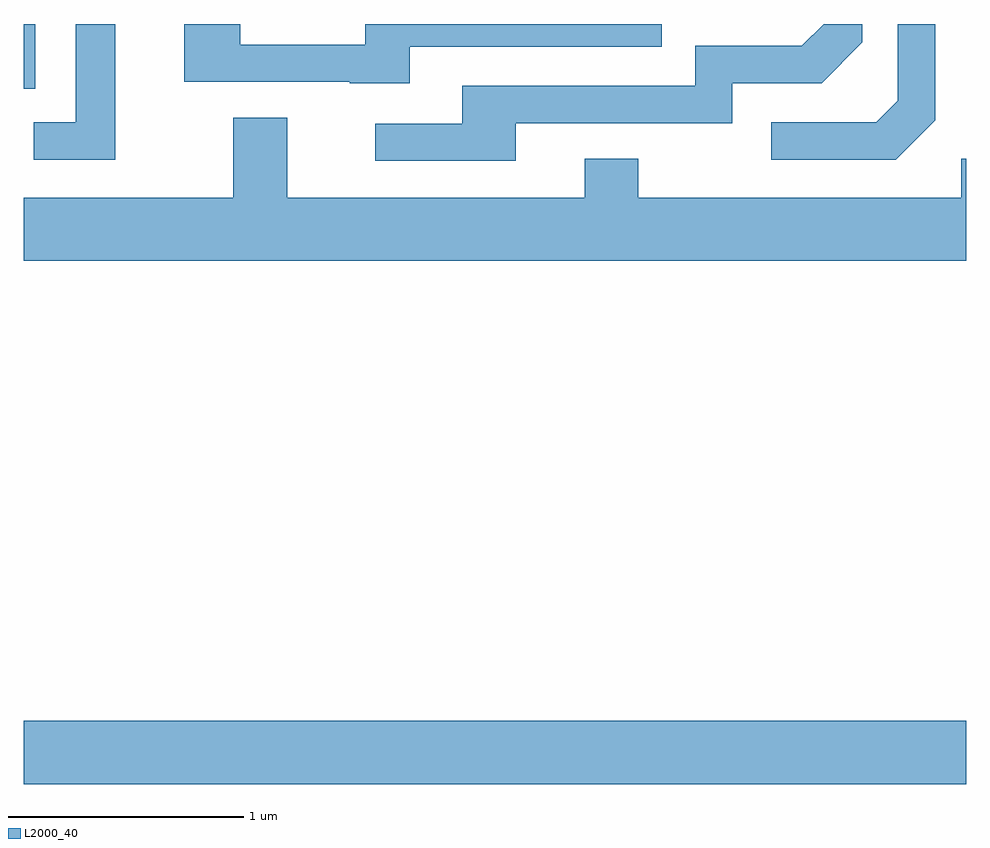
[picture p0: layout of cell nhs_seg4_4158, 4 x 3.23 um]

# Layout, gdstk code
import gdstk
lib = gdstk.Library(unit=1e-6, precision=1e-09)
def R(c, l, rs):  # rectangles x0, y0, x1, y1
    for r in rs: c.add(gdstk.rectangle(r[:2], r[2:], *l))
def P(c, l, *ps):  # polygons
    for p in ps: c.add(gdstk.Polygon(p, *l))
L2000_40 = (2000, 40)

nhs_seg4_4158 = lib.new_cell('nhs_seg4_4158')
R(nhs_seg4_4158, L2000_40, [(307.611,1274.756,311.611,1275.024), (307.611,1277.708,307.659,1277.982)])
P(nhs_seg4_4158, L2000_40, [(311.479,1277.574),(311.479,1277.982),(311.321,1277.982),(311.321,1277.657),(311.229,1277.564),(310.783,1277.564),(310.783,1277.406),(311.312,1277.406)],
  [(307.999,1277.982),(307.831,1277.982),(307.831,1277.564),(307.653,1277.564),(307.653,1277.406),(307.999,1277.406)],
  [(309.249,1277.886),(310.318,1277.886),(310.318,1277.982),(309.061,1277.982),(309.061,1277.894),(308.529,1277.894),(308.529,1277.982),(308.291,1277.982),(308.291,1277.736),(308.995,1277.736),(308.995,1277.731),(309.249,1277.731)],
  [(309.699,1277.561),(310.619,1277.561),(310.619,1277.731),(310.997,1277.731),(311.169,1277.904),(311.169,1277.982),(311.006,1277.982),(310.914,1277.889),(310.461,1277.889),(310.461,1277.719),(309.471,1277.719),(309.471,1277.559),(309.103,1277.559),(309.103,1277.401),(309.699,1277.401)],
  [(311.611,1277.409),(311.591,1277.409),(311.591,1277.244),(310.219,1277.244),(310.219,1277.409),(309.991,1277.409),(309.991,1277.244),(308.729,1277.244),(308.729,1277.584),(308.501,1277.584),(308.501,1277.244),(307.611,1277.244),(307.611,1276.976),(311.611,1276.976)])

lib.write_gds('nhs_seg4_4158.gds')
